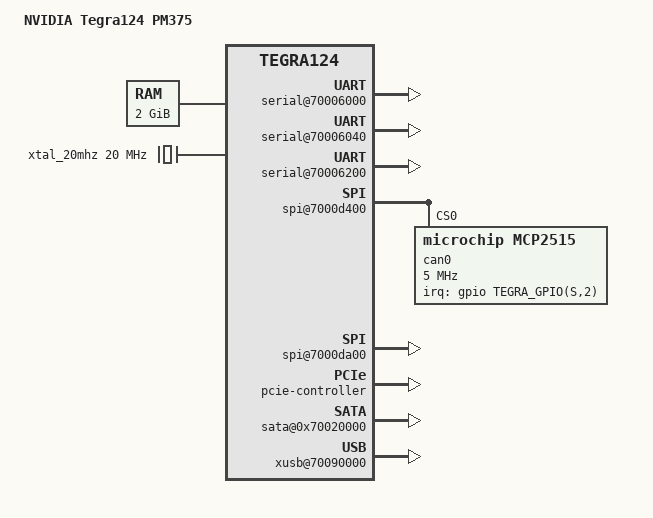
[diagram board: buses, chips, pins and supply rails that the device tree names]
/dts-v1/;

#include "tegra124.dtsi"
#include "tegra124-platforms/tegra124-jetson_tk1-keys-pm375-0000-c00-00.dtsi"
#include "tegra124-platforms/tegra124-tk1-som-gpio-default.dtsi"
#include "tegra124-platforms/tegra124-tk1-som-pinmux.dtsi"
#include "tegra124-platforms/tegra124-jetson_tk1-pmic-pm375-0000-c00-00.dtsi"
#include "tegra124-platforms/tegra124-jetson_tk1-fixed-pm375-0000-c00-00.dtsi"
#include "tegra124-platforms/tegra124-pm359-camera-a00.dtsi"

/ {
	model = "NVIDIA Tegra124 PM375";
	compatible = "nvidia,jetson-tk1", "nvidia,tegra124";
	nvidia,dtsfilename = __FILE__;
	#address-cells = <2>;
	#size-cells = <2>;

	chosen {
		bootargs = "tegraid=40.0.0.00.00 vmalloc=256M video=tegrafb console=ttyS0,115200n8 earlyprintk";
	};

	pinmux {
		pinctrl-names = "default", "drive", "unused", "suspend";
		pinctrl-3 = <&pinmux_suspend>;

		/* Change the pin dap_mclk1_req to required configurations */
		unused_lowpower {
			dap_mclk1_req_pee2 {
			nvidia,pins = "dap_mclk1_req_pee2";
			nvidia,function = "sata";
			nvidia,enable-input = <TEGRA_PIN_DISABLE>;
			nvidia,pull = <TEGRA_PIN_PULL_NONE>;
			nvidia,tristate = <TEGRA_PIN_DISABLE>;
			};
		};

		/* On suspend, make dap_mclk1_req to pull up */
		pinmux_suspend: pins_on_suspend {
		dap_mclk1_req_pee2 {
			nvidia,pins = "dap_mclk1_req_pee2";
			nvidia,pull = <TEGRA_PIN_PULL_UP>;
			};
		};
	};

        serial@70006000 {
                compatible = "nvidia,tegra114-hsuart";
                status = "okay";
        };

        serial@70006040 {
                compatible = "nvidia,tegra114-hsuart";
                status = "okay";
        };

        serial@70006200 {
                compatible = "nvidia,tegra114-hsuart";
                status = "okay";
        };

	i2c@7000d000 {
		nvidia,bit-banging-xfer-after-shutdown;
	};

	memory@0x80000000 {
		device_type = "memory";
		reg = <0x0 0x80000000 0x0 0x80000000>;
	};

    xtal_20mhz: oscillator {
        compatible = "fixed-clock";
        #clock-cells = <1>;
        clock-frequency  = <20000000>;
        clock-output-names = "xtal_20mhz";
    };

	spi@7000d400 {
		      compatible = "nvidia,tegra114-spi";
                      reg = <0x0 0x7000d400 0x0 0x200>;
                      interrupts = <0x0 0x3b 0x4>;
                      nvidia,dma-request-selector = <0x7 0xf>;
                      nvidia,memory-clients = <0xe>;
                      #address-cells = <0x1>;
                      #size-cells = <0x0>;
                      status = "okay";
                      spi-max-frequency = <5000000>;

                      can0 {
                              #address-cells = <0x1>;
                              #size-cells = <0x0>;
                              compatible = "microchip,mcp2515";
                              reg = <0x0>;
                              oscillator = <&xtal_20mhz>,"clock-frequency";
                              spi-max-frequency = <5000000>;
                              spi-cpha;
                              nvidia,enable-hw-based-cs;
                              nvidia,cs-setup-clk-count = <0x1e>;
                              nvidia,cs-hold-clk-count = <0x1e>;
                              nvidia,rx-clk-tap-delay = <0x1f>;
                              nvidia,tx-clk-tap-delay = <0x0>;
                              //nvidia,chipselect-gpio = <&gpio_default TEGRA_GPIO(S,6) 0>;
                              interrupt-parent = <&gpio>;
                              interrupts = <TEGRA_GPIO(S,2) 0x2>;
                      };

                      /*
                      spi0_0 {
                              #address-cells = <0x1>;
                              #size-cells = <0x0>;
                              compatible = "spidev";
                              reg = <0x0>;
                              spi-max-frequency = <5000000>;
                              spi-cpha;
                              nvidia,enable-hw-based-cs;
                              nvidia,cs-setup-clk-count = <0x1e>;
                              nvidia,cs-hold-clk-count = <0x1e>;
                              nvidia,rx-clk-tap-delay = <0x1f>;
                              nvidia,tx-clk-tap-delay = <0x0>;

                      };
                      */
     	     };



	spi@7000da00 {
		status = "okay";
		spi-max-frequency = <25000000>;
	};

	pmc {
		status = "okay";
		nvidia,invert-interrupt;
		nvidia,suspend-mode = <0>;
		nvidia,cpu-pwr-good-time = <500>;
		nvidia,cpu-pwr-off-time = <300>;
		nvidia,core-pwr-good-time = <3845 3845>;
		nvidia,core-pwr-off-time = <2000>;
		nvidia,core-power-req-active-high;
		nvidia,sys-clock-req-active-high;
		nvidia,lp0-vec = <0xf46ff000 2064>;
	};

	pcie-controller {
		nvidia,port0_status = <1>;
		nvidia,port1_status = <1>;
		status = "okay";
	};

	sata@0x70020000 {
		nvidia,enable-sata-port;
		nvidia,sata-connector-type=<STANDARD_SATA>;
		vdd_sata-supply = <&as3722_sd4>;
		avdd_sata_pll-supply =<&as3722_sd4>;
		avdd_sata-supply = <&as3722_sd4>;
		hvdd_sata-supply = <&as3722_gpio2_supply>;
		vddio_pex_sata-supply = <&as3722_gpio2_supply>;
		status = "okay";
	};

	xusb@70090000 {
		/* nvidia,uses_external_pmic;
		nvidia,gpio_controls_muxed_ss_lanes; */
		nvidia,gpio_ss1_sata = <0>;
		nvidia,portmap = <0x702>; /* SSP1, USB2P0, USBP1, USBP2 */
		nvidia,ss_portmap = <0x27>; /* SSP0 Disable SSP1 on USB2P2 */
		nvidia,lane_owner = <1>; /* SATA = USB#_SS_port1 PCIe PCIe */
		nvidia,ulpicap = <0>; /* No ulpi support. can we remove */
		status = "okay";
	};
};
